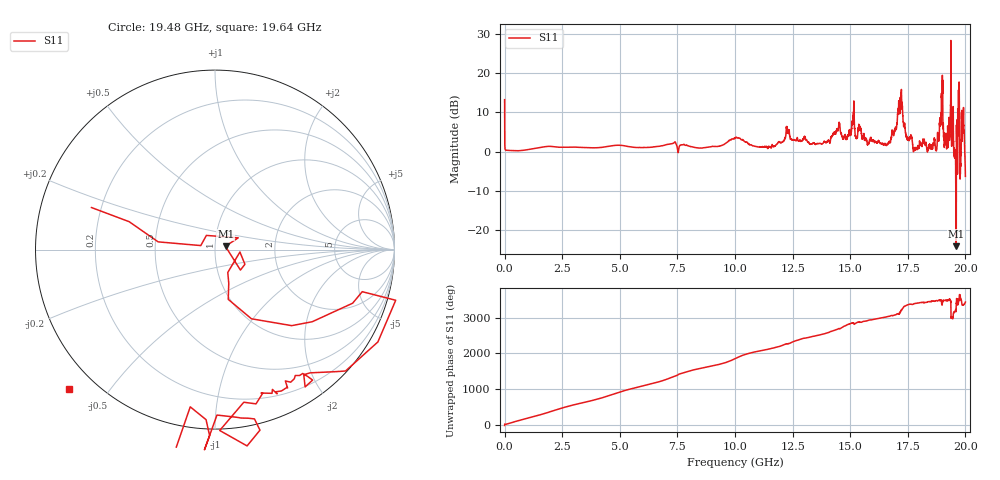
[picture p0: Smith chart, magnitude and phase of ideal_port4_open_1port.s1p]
! Created with skrf 1.8.0 (http://scikit-rf.org).
# GHz S RI R 50.0
!freq ReS11 ImS11
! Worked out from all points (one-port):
!   10001 points, 1 MHz to 20 GHz, reference 50 ohm
!   lowest |S11| = -24.1 dB at 19.6 GHz (marker M1), VSWR 1.13, Z = 56.3 + j2.2 ohm
!   |S11| at or under -10 dB: 19.58355 GHz to 19.606 GHz (22.45 MHz wide, 0.115 % of centre)
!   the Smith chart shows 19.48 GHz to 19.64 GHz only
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0.001  4.335 -1.437
0.8349583  -0.9635 0.3914
1.532923  0.1587 -1.111
2.500875  -0.421 1.051
4.062797  1.116 0.1013
5.00075  -1.145 -0.3669
5.850708  1.1 -0.2539
6.526674  -0.0898 1.146
7.500625  0.6554 -0.877
8.81056  -1.134 -0.0729
9.524524  0.4108 -1.16
10.0005  0.8882 1.198
10.41248  -1.288 0.3659
11.00845  -0.146 -1.133
11.84641  1.151 0.5326
12.50038  -1.352 0.4344
13.01835  -0.0883 -1.507
13.71231  1.268 0.0782
14.53427  -2.243 0.254
15.00025  1.058 -1.406
16.24619  -0.3163 1.319
17.04015  -1.524 -1.884
17.13614  -2.602 -2.972
17.27814  2.721 1.014
17.50013  -0.8261 1.226
18.86406  -0.5212 -1.485
19.59802  0.0595 0.0194
20  -0.4571 -0.1554
